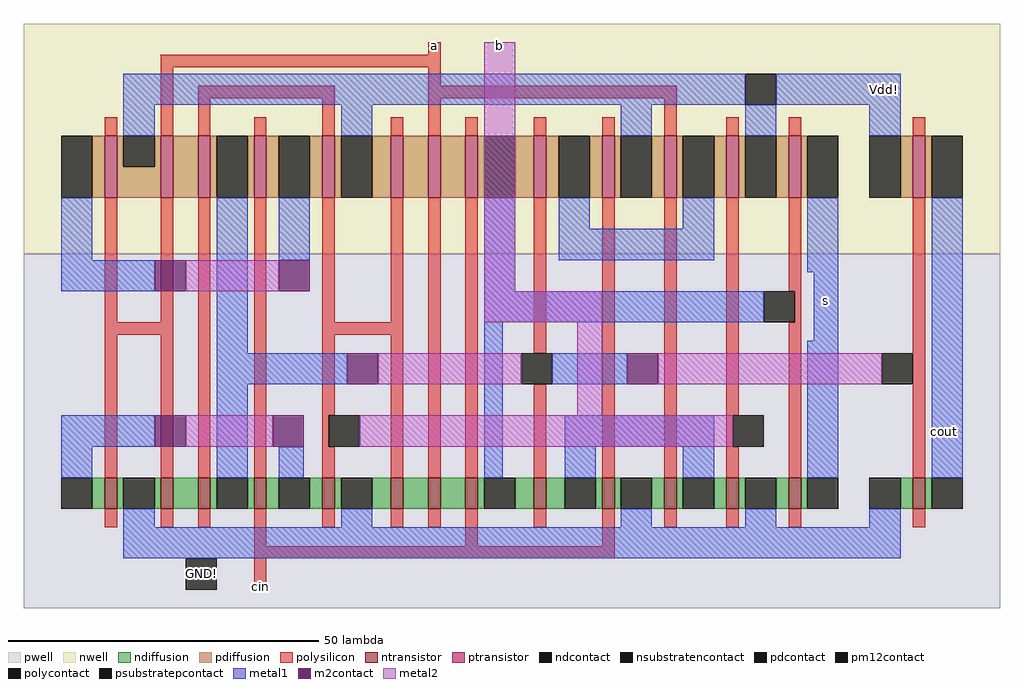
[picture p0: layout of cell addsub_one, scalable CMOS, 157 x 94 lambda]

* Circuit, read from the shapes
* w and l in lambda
.subckt addsub_one GND! Vdd! a b cin cout s
M1 GND! a n1 GND! nfet w=5 l=2
M2 n2 a GND! GND! nfet w=5 l=2
M3 n3 b n2 GND! nfet w=5 l=2
M4 n1 cin n3 GND! nfet w=5 l=2
M5 GND! b n1 GND! nfet w=5 l=2
M6 n4 b GND! GND! nfet w=5 l=2
M7 n5 a n4 GND! nfet w=5 l=2
M8 n6 cin n5 GND! nfet w=5 l=2
M9 n7 n3 n6 GND! nfet w=5 l=2
M10 GND! cin n7 GND! nfet w=5 l=2
M11 n7 a GND! GND! nfet w=5 l=2
M12 GND! b n7 GND! nfet w=5 l=2
M13 s n6 GND! GND! nfet w=5 l=2
M14 cout n3 GND! GND! nfet w=5 l=2
M15 Vdd! a n8 Vdd! pfet w=10 l=2
M16 n9 a Vdd! Vdd! pfet w=10 l=2
M17 n3 b n9 Vdd! pfet w=10 l=2
M18 n8 cin n3 Vdd! pfet w=10 l=2
M19 Vdd! b n8 Vdd! pfet w=10 l=2
M20 n10 b Vdd! Vdd! pfet w=10 l=2
M21 n11 a n10 Vdd! pfet w=10 l=2
M22 n6 cin n11 Vdd! pfet w=10 l=2
M23 n12 n3 n6 Vdd! pfet w=10 l=2
M24 Vdd! cin n12 Vdd! pfet w=10 l=2
M25 n12 a Vdd! Vdd! pfet w=10 l=2
M26 Vdd! b n12 Vdd! pfet w=10 l=2
M27 s n6 Vdd! Vdd! pfet w=10 l=2
M28 cout n3 Vdd! Vdd! pfet w=10 l=2
.ends

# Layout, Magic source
magic
tech scmos
<< nwell >>
rect 5 0 162 37
<< pwell >>
rect 5 -57 162 0
<< ntransistor >>
rect 18 -41 20 -36
rect 27 -41 29 -36
rect 33 -41 35 -36
rect 42 -41 44 -36
rect 53 -41 55 -36
rect 64 -41 66 -36
rect 70 -41 72 -36
rect 76 -41 78 -36
rect 87 -41 89 -36
rect 98 -41 100 -36
rect 108 -41 110 -36
rect 118 -41 120 -36
rect 128 -41 130 -36
rect 148 -41 150 -36
<< ptransistor >>
rect 18 9 20 19
rect 27 9 29 19
rect 33 9 35 19
rect 42 9 44 19
rect 53 9 55 19
rect 64 9 66 19
rect 70 9 72 19
rect 76 9 78 19
rect 87 9 89 19
rect 98 9 100 19
rect 108 9 110 19
rect 118 9 120 19
rect 128 9 130 19
rect 148 9 150 19
<< ndiffusion >>
rect 16 -41 18 -36
rect 20 -41 21 -36
rect 26 -41 27 -36
rect 29 -41 33 -36
rect 35 -41 36 -36
rect 41 -41 42 -36
rect 44 -41 46 -36
rect 51 -41 53 -36
rect 55 -41 56 -36
rect 61 -41 64 -36
rect 66 -41 70 -36
rect 72 -41 76 -36
rect 78 -41 79 -36
rect 84 -41 87 -36
rect 89 -41 92 -36
rect 97 -41 98 -36
rect 100 -41 101 -36
rect 106 -41 108 -36
rect 110 -41 111 -36
rect 116 -41 118 -36
rect 120 -41 121 -36
rect 126 -41 128 -36
rect 130 -41 131 -36
rect 146 -41 148 -36
rect 150 -41 151 -36
<< pdiffusion >>
rect 16 9 18 19
rect 20 14 21 19
rect 26 14 27 19
rect 20 9 27 14
rect 29 9 33 19
rect 35 9 36 19
rect 41 9 42 19
rect 44 9 46 19
rect 51 9 53 19
rect 55 9 56 19
rect 61 9 64 19
rect 66 9 70 19
rect 72 9 76 19
rect 78 9 79 19
rect 84 9 87 19
rect 89 9 91 19
rect 96 9 98 19
rect 100 9 101 19
rect 106 9 108 19
rect 110 9 111 19
rect 116 9 118 19
rect 120 9 121 19
rect 126 9 128 19
rect 130 9 131 19
rect 146 9 148 19
rect 150 9 151 19
<< ndcontact >>
rect 11 -41 16 -36
rect 21 -41 26 -36
rect 36 -41 41 -36
rect 46 -41 51 -36
rect 56 -41 61 -36
rect 79 -41 84 -36
rect 92 -41 97 -36
rect 101 -41 106 -36
rect 111 -41 116 -36
rect 121 -41 126 -36
rect 131 -41 136 -36
rect 141 -41 146 -36
rect 151 -41 156 -36
<< pdcontact >>
rect 11 9 16 19
rect 21 14 26 19
rect 36 9 41 19
rect 46 9 51 19
rect 56 9 61 19
rect 79 9 84 19
rect 91 9 96 19
rect 101 9 106 19
rect 111 9 116 19
rect 121 9 126 19
rect 131 9 136 19
rect 141 9 146 19
rect 151 9 156 19
<< psubstratepcontact >>
rect 31 -54 36 -49
<< nsubstratencontact >>
rect 121 24 126 29
<< polysilicon >>
rect 70 32 72 34
rect 27 30 72 32
rect 18 19 20 22
rect 27 19 29 30
rect 70 27 72 30
rect 33 25 55 27
rect 33 19 35 25
rect 42 19 44 22
rect 53 19 55 25
rect 70 25 110 27
rect 64 19 66 22
rect 70 19 72 25
rect 76 19 78 22
rect 87 19 89 22
rect 98 19 100 22
rect 108 19 110 25
rect 118 19 120 22
rect 128 19 130 22
rect 148 19 150 22
rect 18 -11 20 9
rect 27 -11 29 9
rect 18 -13 29 -11
rect 18 -36 20 -13
rect 27 -36 29 -13
rect 33 -36 35 9
rect 42 -36 44 9
rect 53 -11 55 9
rect 64 -11 66 9
rect 53 -13 66 -11
rect 53 -26 55 -13
rect 53 -31 54 -26
rect 53 -36 55 -31
rect 64 -36 66 -13
rect 70 -36 72 9
rect 76 -36 78 9
rect 87 -16 89 9
rect 87 -36 89 -21
rect 98 -36 100 9
rect 108 -36 110 9
rect 118 -26 120 9
rect 128 -6 130 9
rect 129 -11 130 -6
rect 118 -31 119 -26
rect 118 -36 120 -31
rect 128 -36 130 -11
rect 148 -36 150 9
rect 18 -44 20 -41
rect 27 -44 29 -41
rect 33 -44 35 -41
rect 42 -47 44 -41
rect 53 -44 55 -41
rect 64 -44 66 -41
rect 70 -44 72 -41
rect 76 -47 78 -41
rect 87 -44 89 -41
rect 98 -47 100 -41
rect 108 -44 110 -41
rect 118 -44 120 -41
rect 128 -44 130 -41
rect 148 -44 150 -41
rect 42 -49 100 -47
rect 42 -54 44 -49
<< polycontact >>
rect 124 -11 129 -6
<< metal1 >>
rect 21 24 121 29
rect 126 24 146 29
rect 21 19 26 24
rect 56 19 61 24
rect 101 19 106 24
rect 121 19 126 24
rect 141 19 146 24
rect 11 -1 16 9
rect 11 -6 26 -1
rect 36 -16 41 9
rect 46 -1 51 9
rect 79 -6 84 9
rect 91 4 96 9
rect 111 4 116 9
rect 91 -1 116 4
rect 131 -3 136 9
rect 79 -11 124 -6
rect 36 -21 57 -16
rect 11 -31 26 -26
rect 11 -36 16 -31
rect 36 -36 41 -21
rect 46 -36 50 -31
rect 79 -36 82 -11
rect 132 -14 136 -3
rect 90 -21 102 -16
rect 92 -31 116 -26
rect 92 -36 97 -31
rect 111 -36 116 -31
rect 131 -36 136 -14
rect 151 -36 156 9
rect 21 -44 26 -41
rect 56 -44 61 -41
rect 101 -44 106 -41
rect 121 -44 126 -41
rect 141 -44 146 -41
rect 21 -49 146 -44
<< m2contact >>
rect 26 -6 31 -1
rect 46 -6 51 -1
rect 57 -21 62 -16
rect 26 -31 31 -26
rect 45 -31 50 -26
rect 102 -21 107 -16
<< pm12contact >>
rect 54 -31 59 -26
rect 85 -21 90 -16
rect 119 -31 124 -26
rect 143 -21 148 -16
<< metal2 >>
rect 31 -6 46 -1
rect 79 -6 84 34
rect 79 -11 98 -6
rect 62 -21 85 -16
rect 94 -26 98 -11
rect 107 -21 143 -16
rect 31 -31 45 -26
rect 59 -31 119 -26
<< labels >>
rlabel metal1 133 -8 135 -7 1 s
rlabel metal1 152 -29 154 -28 1 cout
rlabel polysilicon 42 -54 44 -53 1 cin
rlabel psubstratepcontact 33 -52 34 -51 1 GND!
rlabel polysilicon 70 33 72 34 1 a
rlabel metal2 79 33 84 34 1 b
rlabel metal1 143 26 144 27 1 Vdd!
<< end >>
